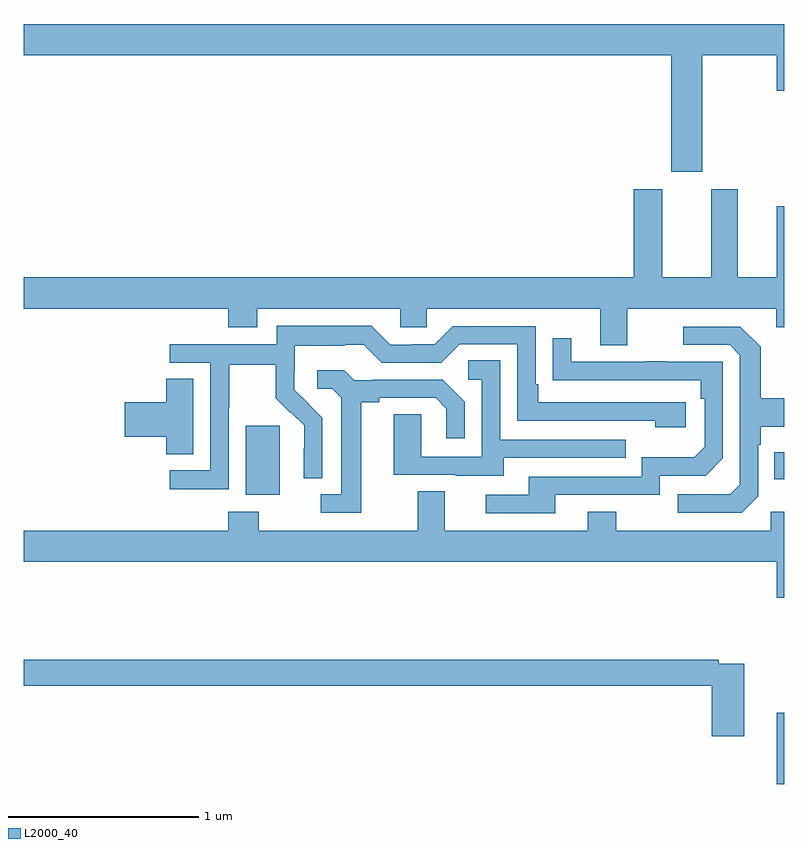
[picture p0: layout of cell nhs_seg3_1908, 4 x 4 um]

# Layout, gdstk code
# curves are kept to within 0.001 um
import gdstk
lib = gdstk.Library(unit=1e-6, precision=1e-09)
def R(c, l, rs):  # rectangles x0, y0, x1, y1
    for r in rs: c.add(gdstk.rectangle(r[:2], r[2:], *l))
def P(c, l, *ps):  # polygons
    for p in ps: c.add(gdstk.Polygon(p, *l))
L2000_40 = (2000, 40)

nhs_seg3_1908 = lib.new_cell('nhs_seg3_1908')
R(nhs_seg3_1908, L2000_40, [(212.96,714.4,213,714.775), (210.167,715.922,210.346,716.283), (212.947,716.003,213,716.143)])
P(nhs_seg3_1908, L2000_40, [(212.569,718.232),(212.96,718.232),(212.96,718.044),(213,718.044),(213,718.396),(209,718.396),(209,718.232),(212.405,718.232),(212.405,717.618),(212.569,717.618)],
  [(212.173,716.9),(212.957,716.9),(212.957,716.801),(213,716.801),(213,717.439),(212.96,717.439),(212.96,717.064),(212.755,717.064),(212.755,717.526),(212.615,717.526),(212.615,717.064),(212.359,717.064),(212.359,717.526),(212.207,717.526),(212.207,717.064),(209,717.064),(209,716.9),(210.077,716.9),(210.077,716.801),(210.229,716.801),(210.229,716.9),(210.981,716.9),(210.981,716.802),(211.119,716.802),(211.119,716.9),(212.033,716.9),(212.033,716.706),(212.173,716.706)],
  [(210.078,716.38),(210.081,716.38),(210.081,716.604),(210.325,716.604),(210.325,716.429),(210.402,716.352),(210.405,716.355),(210.476,716.285),(210.476,716.162),(210.474,716.162),(210.474,716.008),(210.57,716.008),(210.57,716.326),(210.424,716.474),(210.424,716.571),(210.426,716.571),(210.426,716.705),(210.689,716.705),(210.689,716.709),(210.789,716.709),(210.882,716.616),(211.197,716.616),(211.293,716.712),(211.596,716.712),(211.596,716.31),(212.321,716.31),(212.321,716.276),(212.482,716.276),(212.482,716.406),(211.705,716.406),(211.705,716.503),(211.692,716.503),(211.692,716.808),(211.257,716.808),(211.161,716.712),(211.043,716.712),(211.043,716.709),(210.927,716.709),(210.827,716.809),(210.33,716.809),(210.33,716.712),(209.769,716.712),(209.769,716.616),(209.982,716.616),(209.982,716.049),(209.769,716.049),(209.769,715.951),(210.078,715.951)],
  [(212.862,715.914),(212.862,716.183),(212.875,716.183),(212.875,716.279),(213,716.279),(213,716.427),(212.875,716.427),(212.875,716.699),(212.769,716.805),(212.469,716.805),(212.469,716.709),(212.712,716.709),(212.766,716.655),(212.766,715.974),(212.715,715.923),(212.439,715.923),(212.439,715.827),(212.775,715.827)],
  [(211.795,715.92),(212.346,715.92),(212.346,716.022),(212.586,716.022),(212.676,716.112),(212.676,716.619),(212.381,716.619),(212.381,716.624),(212.269,716.624),(212.269,716.619),(211.879,716.619),(211.879,716.743),(211.783,716.743),(211.783,716.524),(212.56,716.523),(212.56,716.426),(212.58,716.426),(212.58,716.172),(212.527,716.119),(212.25,716.119),(212.25,716.016),(211.655,716.016),(211.655,715.92),(211.431,715.92),(211.431,715.824),(211.795,715.824)],
  [(211.525,716.115),(212.165,716.115),(212.165,716.211),(211.506,716.211),(211.506,716.627),(211.338,716.627),(211.338,716.526),(211.41,716.526),(211.41,716.121),(211.092,716.121),(211.092,716.345),(210.947,716.345),(210.947,716.025),(211.271,716.025),(211.271,716.021),(211.525,716.021)],
  [(210.775,716.408),(210.871,716.408),(210.871,716.43),(211.166,716.43),(211.223,716.373),(211.223,716.217),(211.32,716.217),(211.32,716.41),(211.204,716.526),(210.832,716.526),(210.832,716.523),(210.738,716.523),(210.686,716.575),(210.543,716.575),(210.543,716.478),(210.624,716.478),(210.671,716.431),(210.671,715.923),(210.561,715.923),(210.561,715.827),(210.775,715.827)],
  [(209.893,716.531),(209.75,716.531),(209.75,716.408),(209.532,716.408),(209.532,716.225),(209.75,716.225),(209.75,716.134),(209.893,716.134)],
  [(213,715.831),(212.928,715.831),(212.928,715.732),(212.115,715.732),(212.115,715.831),(211.967,715.831),(211.967,715.732),(211.213,715.732),(211.213,715.94),(211.073,715.94),(211.073,715.732),(210.237,715.732),(210.237,715.831),(210.077,715.831),(210.077,715.732),(209,715.732),(209,715.568),(212.96,715.568),(212.96,715.38),(213,715.38)],
  [(212.788,715.032),(212.654,715.032),(212.654,715.052),(209,715.052),(209,714.916),(212.618,714.916),(212.618,714.651),(212.788,714.651)])

lib.write_gds('nhs_seg3_1908.gds')
